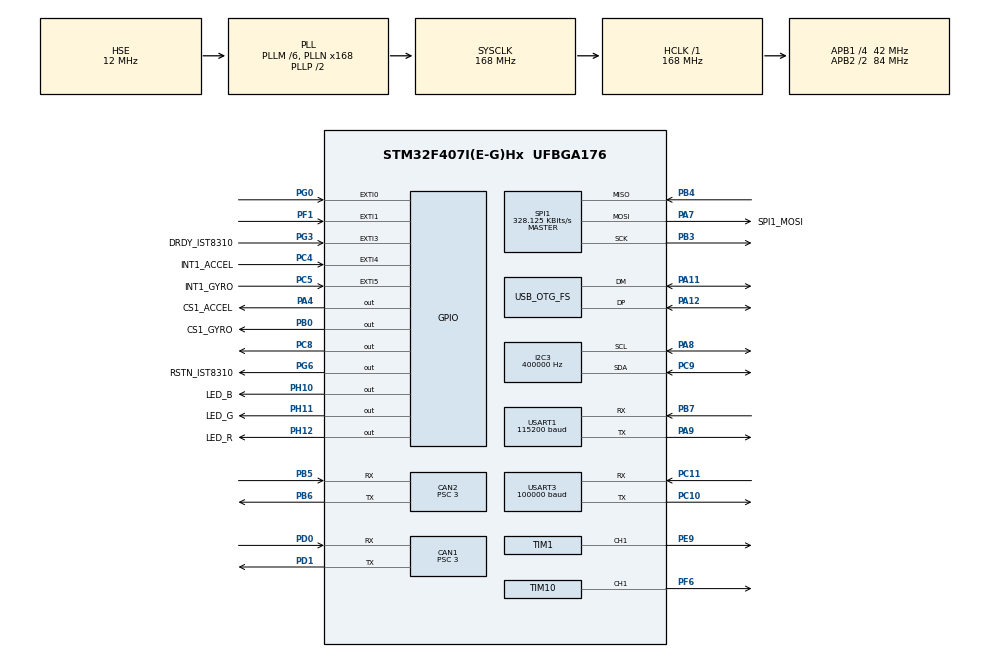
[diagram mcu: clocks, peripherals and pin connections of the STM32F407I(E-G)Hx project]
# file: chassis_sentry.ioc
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CAN1.ABOM=DISABLE
CAN1.AWUM=DISABLE
CAN1.BS1=CAN_BS1_10TQ
CAN1.BS2=CAN_BS2_3TQ
CAN1.CalculateBaudRate=1000000
CAN1.CalculateTimeQuantum=71.42857142857143
CAN1.Mode=CAN_MODE_NORMAL
CAN1.NART=DISABLE
CAN1.Prescaler=3
CAN1.RFLM=DISABLE
CAN1.SJW=CAN_SJW_1TQ
CAN1.TTCM=DISABLE
CAN1.TXFP=DISABLE
CAN2.ABOM=DISABLE
CAN2.AWUM=DISABLE
CAN2.BS1=CAN_BS1_10TQ
CAN2.BS2=CAN_BS2_3TQ
CAN2.CalculateBaudRate=1000000
CAN2.CalculateTimeQuantum=71.42857142857143
CAN2.Mode=CAN_MODE_NORMAL
CAN2.NART=DISABLE
CAN2.Prescaler=3
CAN2.RFLM=DISABLE
CAN2.SJW=CAN_SJW_1TQ
CAN2.TTCM=DISABLE
CAN2.TXFP=DISABLE
Dma.Request0=SPI1_RX
Dma.Request1=SPI1_TX
Dma.Request2=USART1_RX
Dma.Request3=USART1_TX
Dma.Request4=USART3_RX
Dma.SPI1_RX.0.Direction=DMA_PERIPH_TO_MEMORY
Dma.SPI1_RX.0.FIFOMode=DMA_FIFOMODE_DISABLE
Dma.SPI1_RX.0.Instance=DMA2_Stream2
Dma.SPI1_RX.0.MemDataAlignment=DMA_MDATAALIGN_BYTE
Dma.SPI1_RX.0.MemInc=DMA_MINC_ENABLE
Dma.SPI1_RX.0.Mode=DMA_NORMAL
Dma.SPI1_RX.0.PeriphDataAlignment=DMA_PDATAALIGN_BYTE
Dma.SPI1_RX.0.PeriphInc=DMA_PINC_DISABLE
Dma.SPI1_RX.0.Priority=DMA_PRIORITY_VERY_HIGH
Dma.SPI1_TX.1.Direction=DMA_MEMORY_TO_PERIPH
Dma.SPI1_TX.1.FIFOMode=DMA_FIFOMODE_DISABLE
Dma.SPI1_TX.1.Instance=DMA2_Stream3
Dma.SPI1_TX.1.MemDataAlignment=DMA_MDATAALIGN_BYTE
Dma.SPI1_TX.1.MemInc=DMA_MINC_ENABLE
Dma.SPI1_TX.1.Mode=DMA_NORMAL
Dma.SPI1_TX.1.PeriphDataAlignment=DMA_PDATAALIGN_BYTE
Dma.SPI1_TX.1.PeriphInc=DMA_PINC_DISABLE
Dma.SPI1_TX.1.Priority=DMA_PRIORITY_HIGH
Dma.USART1_RX.2.Direction=DMA_PERIPH_TO_MEMORY
Dma.USART1_RX.2.FIFOMode=DMA_FIFOMODE_DISABLE
Dma.USART1_RX.2.Instance=DMA2_Stream5
Dma.USART1_RX.2.MemDataAlignment=DMA_MDATAALIGN_BYTE
Dma.USART1_RX.2.MemInc=DMA_MINC_ENABLE
Dma.USART1_RX.2.Mode=DMA_NORMAL
Dma.USART1_RX.2.PeriphDataAlignment=DMA_PDATAALIGN_BYTE
Dma.USART1_RX.2.PeriphInc=DMA_PINC_DISABLE
Dma.USART1_RX.2.Priority=DMA_PRIORITY_LOW
Dma.USART1_TX.3.Direction=DMA_MEMORY_TO_PERIPH
Dma.USART1_TX.3.FIFOMode=DMA_FIFOMODE_DISABLE
Dma.USART1_TX.3.Instance=DMA2_Stream7
Dma.USART1_TX.3.MemDataAlignment=DMA_MDATAALIGN_BYTE
Dma.USART1_TX.3.MemInc=DMA_MINC_ENABLE
Dma.USART1_TX.3.Mode=DMA_CIRCULAR
Dma.USART1_TX.3.PeriphDataAlignment=DMA_PDATAALIGN_BYTE
Dma.USART1_TX.3.PeriphInc=DMA_PINC_DISABLE
Dma.USART1_TX.3.Priority=DMA_PRIORITY_LOW
Dma.USART3_RX.4.Direction=DMA_PERIPH_TO_MEMORY
Dma.USART3_RX.4.FIFOMode=DMA_FIFOMODE_DISABLE
Dma.USART3_RX.4.Instance=DMA1_Stream1
Dma.USART3_RX.4.MemDataAlignment=DMA_MDATAALIGN_BYTE
Dma.USART3_RX.4.MemInc=DMA_MINC_ENABLE
Dma.USART3_RX.4.Mode=DMA_CIRCULAR
Dma.USART3_RX.4.PeriphDataAlignment=DMA_PDATAALIGN_BYTE
Dma.USART3_RX.4.PeriphInc=DMA_PINC_DISABLE
Dma.USART3_RX.4.Priority=DMA_PRIORITY_LOW
FREERTOS.HEAP_NUMBER=4
FREERTOS.INCLUDE_eTaskGetState=0
FREERTOS.INCLUDE_pcTaskGetTaskName=0
FREERTOS.INCLUDE_uxTaskGetStackHighWaterMark=0
FREERTOS.INCLUDE_uxTaskGetStackHighWaterMark2=0
FREERTOS.INCLUDE_uxTaskPriorityGet=1
FREERTOS.INCLUDE_vTaskCleanUpResources=0
FREERTOS.INCLUDE_vTaskDelay=1
FREERTOS.INCLUDE_vTaskDelayUntil=1
FREERTOS.INCLUDE_vTaskDelete=1
FREERTOS.INCLUDE_vTaskPrioritySet=1
FREERTOS.INCLUDE_vTaskSuspend=1
FREERTOS.INCLUDE_xEventGroupSetBitFromISR=0
FREERTOS.INCLUDE_xQueueGetMutexHolder=0
FREERTOS.INCLUDE_xSemaphoreGetMutexHolder=0
FREERTOS.INCLUDE_xTaskAbortDelay=0
FREERTOS.INCLUDE_xTaskGetCurrentTaskHandle=0
FREERTOS.INCLUDE_xTaskGetHandle=1
FREERTOS.INCLUDE_xTaskResumeFromISR=1
FREERTOS.MEMORY_ALLOCATION=2
FREERTOS.Tasks01=chassis_task,0,128,StartChassisTask,As weak,NULL,Dynamic,NULL,NULL;IMU_TASK,-3,512,INS_task,As weak,NULL,Dynamic,NULL,NULL;judge,-3,128,send_judge,As weak,NULL,Dynamic,NULL,NULL
FREERTOS.configCHECK_FOR_STACK_OVERFLOW=0
FREERTOS.configENABLE_BACKWARD_COMPATIBILITY=1
FREERTOS.configENABLE_FPU=0
FREERTOS.configGENERATE_RUN_TIME_STATS=0
FREERTOS.configIDLE_SHOULD_YIELD=1
FREERTOS.configLIBRARY_LOWEST_INTERRUPT_PRIORITY=15
FREERTOS.configLIBRARY_MAX_SYSCALL_INTERRUPT_PRIORITY=5
FREERTOS.configMAX_CO_ROUTINE_PRIORITIES=2
FREERTOS.configMAX_PRIORITIES=7
FREERTOS.configMAX_TASK_NAME_LEN=16
FREERTOS.configMINIMAL_STACK_SIZE=128
FREERTOS.configQUEUE_REGISTRY_SIZE=8
FREERTOS.configRECORD_STACK_HIGH_ADDRESS=0
FREERTOS.configTICK_RATE_HZ=1000
FREERTOS.configTOTAL_HEAP_SIZE=15360
FREERTOS.configUSE_APPLICATION_TASK_TAG=0
FREERTOS.configUSE_COUNTING_SEMAPHORES=0
FREERTOS.configUSE_CO_ROUTINES=0
FREERTOS.configUSE_DAEMON_TASK_STARTUP_HOOK=0
FREERTOS.configUSE_IDLE_HOOK=0
FREERTOS.configUSE_MALLOC_FAILED_HOOK=0
FREERTOS.configUSE_MUTEXES=1
FREERTOS.configUSE_NEWLIB_REENTRANT=0
FREERTOS.configUSE_POSIX_ERRNO=0
FREERTOS.configUSE_PREEMPTION=1
FREERTOS.configUSE_RECURSIVE_MUTEXES=0
FREERTOS.configUSE_STATS_FORMATTING_FUNCTIONS=0
FREERTOS.configUSE_TASK_NOTIFICATIONS=1
FREERTOS.configUSE_TICKLESS_IDLE=0
FREERTOS.configUSE_TICK_HOOK=0
FREERTOS.configUSE_TIMERS=0
FREERTOS.configUSE_TRACE_FACILITY=0
FREERTOS.copyHeapFile=1
I2C3.AddressingMode=I2C_ADDRESSINGMODE_7BIT
I2C3.ClockSpeed=400000
I2C3.DualAddressMode=I2C_DUALADDRESS_DISABLE
I2C3.DutyCycle=I2C_DUTYCYCLE_2
I2C3.GeneralCallMode=I2C_GENERALCALL_DISABLE
I2C3.I2C_Mode=I2C_Fast
I2C3.NoStretchMode=I2C_NOSTRETCH_DISABLE
I2C3.OwnAddress=0
Mcu.Family=STM32F4
Mcu.Name=STM32F407I(E-G)Hx
Mcu.Package=UFBGA176
NVIC.CAN1_RX0_IRQn=true\:5\:0\:true\:false\:true\:true\:true\:true\:true
NVIC.CAN2_RX0_IRQn=true\:5\:0\:false\:false\:true\:true\:true\:true\:true
NVIC.DMA1_Stream1_IRQn=true\:5\:0\:true\:false\:true\:true\:false\:true\:true
NVIC.DMA2_Stream2_IRQn=true\:5\:0\:true\:false\:true\:true\:false\:true\:true
NVIC.DMA2_Stream3_IRQn=true\:5\:0\:false\:false\:true\:true\:false\:true\:true
NVIC.DMA2_Stream5_IRQn=true\:5\:0\:false\:false\:true\:true\:false\:true\:true
NVIC.DMA2_Stream7_IRQn=true\:5\:0\:false\:false\:true\:true\:false\:true\:true
NVIC.EXTI0_IRQn=true\:6\:0\:true\:false\:true\:true\:true\:true\:true
NVIC.EXTI1_IRQn=true\:5\:0\:true\:false\:true\:true\:true\:true\:true
NVIC.EXTI3_IRQn=true\:5\:0\:true\:false\:true\:true\:true\:true\:true
NVIC.EXTI4_IRQn=true\:5\:0\:true\:false\:true\:true\:true\:true\:true
NVIC.EXTI9_5_IRQn=true\:5\:0\:true\:false\:true\:true\:true\:true\:true
NVIC.OTG_FS_IRQn=true\:5\:0\:false\:false\:true\:true\:true\:true\:true
NVIC.PriorityGroup=NVIC_PRIORITYGROUP_4
NVIC.TIM6_DAC_IRQn=true\:15\:0\:false\:false\:true\:false\:true\:true\:true
NVIC.TIM8_UP_TIM13_IRQn=true\:5\:0\:false\:false\:true\:true\:true\:true\:true
NVIC.TimeBase=TIM6_DAC_IRQn
NVIC.TimeBaseIP=TIM6
NVIC.USART1_IRQn=true\:5\:0\:false\:false\:true\:true\:true\:true\:true
PA11.Mode=Device_Only
PA11.Signal=USB_OTG_FS_DM
PA12.Mode=Device_Only
PA12.Signal=USB_OTG_FS_DP
PA13.Mode=Serial_Wire
PA13.Signal=SYS_JTMS-SWDIO
PA14.Mode=Serial_Wire
PA14.Signal=SYS_JTCK-SWCLK
PA4.GPIO_Label=CS1_ACCEL
PA4.PinState=GPIO_PIN_SET
PA4.Signal=GPIO_Output
PA7.GPIO_Label=SPI1_MOSI
PA7.GPIO_PuPd=GPIO_PULLUP
PA7.Mode=Full_Duplex_Master
PA7.Signal=SPI1_MOSI
PA8.Mode=I2C
PA8.Signal=I2C3_SCL
PA9.Mode=Asynchronous
PA9.Signal=USART1_TX
PB0.GPIO_Label=CS1_GYRO
PB0.PinState=GPIO_PIN_SET
PB0.Signal=GPIO_Output
PB3.Mode=Full_Duplex_Master
PB3.Signal=SPI1_SCK
PB4.GPIO_PuPd=GPIO_PULLUP
PB4.Mode=Full_Duplex_Master
PB4.Signal=SPI1_MISO
PB5.Mode=CAN_Activate
PB5.Signal=CAN2_RX
PB6.Mode=CAN_Activate
PB6.Signal=CAN2_TX
PB7.Mode=Asynchronous
PB7.Signal=USART1_RX
PC10.Mode=Asynchronous
PC10.Signal=USART3_TX
PC11.Mode=Asynchronous
PC11.Signal=USART3_RX
PC4.GPIO_Label=INT1_ACCEL
PC4.GPIO_PuPd=GPIO_PULLUP
PC4.Signal=GPXTI4
PC5.GPIO_Label=INT1_GYRO
PC5.GPIO_PuPd=GPIO_PULLUP
PC5.Signal=GPXTI5
PC8.GPIO_PuPd=GPIO_PULLUP
PC8.Signal=GPIO_Output
PC9.Mode=I2C
PC9.Signal=I2C3_SDA
PD0.Mode=CAN_Activate
PD0.Signal=CAN1_RX
PD1.Mode=CAN_Activate
PD1.Signal=CAN1_TX
PE9.Signal=S_TIM1_CH1
PF1.Signal=GPXTI1
PF6.Signal=S_TIM10_CH1
PG0.Signal=GPXTI0
PG3.GPIO_Label=DRDY_IST8310
PG3.GPIO_PuPd=GPIO_PULLUP
PG3.Signal=GPXTI3
PG6.GPIO_Label=RSTN_IST8310
PG6.GPIO_PuPd=GPIO_PULLUP
PG6.GPIO_Speed=GPIO_SPEED_FREQ_MEDIUM
PG6.PinState=GPIO_PIN_SET
PG6.Signal=GPIO_Output
PH0-OSC_IN.Mode=HSE-External-Oscillator
PH0-OSC_IN.Signal=RCC_OSC_IN
PH1-OSC_OUT.Mode=HSE-External-Oscillator
PH1-OSC_OUT.Signal=RCC_OSC_OUT
PH10.GPIO_Label=LED_B
PH10.Signal=GPIO_Output
PH11.GPIO_Label=LED_G
PH11.Signal=GPIO_Output
PH12.GPIO_Label=LED_R
PH12.Signal=GPIO_Output
ProjectManager.HeapSize=0x200
ProjectManager.StackSize=0x400
ProjectManager.TargetToolchain=MDK-ARM V5.32
RCC.48MHZClocksFreq_Value=48000000
RCC.AHBFreq_Value=168000000
RCC.APB1CLKDivider=RCC_HCLK_DIV4
RCC.APB1Freq_Value=42000000
RCC.APB1TimFreq_Value=84000000
RCC.APB2CLKDivider=RCC_HCLK_DIV2
RCC.APB2Freq_Value=84000000
RCC.APB2TimFreq_Value=168000000
RCC.CortexFreq_Value=168000000
RCC.FLatency=FLASH_LATENCY_5
RCC.HCLKFreq_Value=168000000
RCC.HSE_VALUE=12000000
RCC.HSI_VALUE=16000000
RCC.LSE_VALUE=32768
RCC.PLLM=6
RCC.PLLN=168
RCC.PLLQ=7
RCC.SYSCLKFreq_VALUE=168000000
RCC.SYSCLKSource=RCC_SYSCLKSOURCE_PLLCLK
RCC.VCOOutputFreq_Value=336000000
SH.S_TIM10_CH1.0=TIM10_CH1,PWM Generation1 CH1
SH.S_TIM1_CH1.0=TIM1_CH1,PWM Generation1 CH1
SPI1.BaudRatePrescaler=SPI_BAUDRATEPRESCALER_256
SPI1.CLKPhase=SPI_PHASE_2EDGE
SPI1.CLKPolarity=SPI_POLARITY_HIGH
SPI1.CRCCalculation=SPI_CRCCALCULATION_DISABLE
SPI1.CalculateBaudRate=328.125 KBits/s
SPI1.DataSize=SPI_DATASIZE_8BIT
SPI1.Direction=SPI_DIRECTION_2LINES
SPI1.FirstBit=SPI_FIRSTBIT_MSB
SPI1.Mode=SPI_MODE_MASTER
SPI1.NSS=SPI_NSS_SOFT
SPI1.TIMode=SPI_TIMODE_DISABLE
SPI1.VirtualType=VM_MASTER
TIM1.AutoReloadPreload=TIM_AUTORELOAD_PRELOAD_DISABLE
TIM1.AutomaticOutput=TIM_AUTOMATICOUTPUT_DISABLE
TIM1.BreakPolarity=TIM_BREAKPOLARITY_HIGH
TIM1.BreakState=TIM_BREAK_DISABLE
TIM1.Channel-PWM\ Generation1\ CH1=TIM_CHANNEL_1
TIM1.ClockDivision=TIM_CLOCKDIVISION_DIV1
TIM1.CounterMode=TIM_COUNTERMODE_UP
TIM1.LockLevel=TIM_LOCKLEVEL_OFF
TIM1.OC1Preload_PWM=ENABLE
TIM1.OCFastMode_PWM-PWM\ Generation1\ CH1=TIM_OCFAST_DISABLE
TIM1.OCIdleState_1=TIM_OCIDLESTATE_RESET
TIM1.OCMode_PWM-PWM\ Generation1\ CH1=TIM_OCMODE_PWM1
TIM1.OCPolarity_1=TIM_OCPOLARITY_HIGH
TIM1.OffStateIDLEMode=TIM_OSSI_DISABLE
TIM1.OffStateRunMode=TIM_OSSR_DISABLE
TIM1.Period=1999
TIM1.Prescaler=1679
TIM1.Pulse-PWM\ Generation1\ CH1=0
TIM1.RepetitionCounter=0
TIM1.TIM_MasterOutputTrigger=TIM_TRGO_RESET
TIM1.TIM_MasterSlaveMode=TIM_MASTERSLAVEMODE_DISABLE
TIM10.AutoReloadPreload=TIM_AUTORELOAD_PRELOAD_DISABLE
TIM10.Channel=TIM_CHANNEL_1
TIM10.ClockDivision=TIM_CLOCKDIVISION_DIV1
TIM10.CounterMode=TIM_COUNTERMODE_UP
TIM10.OC1Preload_PWM=ENABLE
TIM10.OCFastMode_PWM=TIM_OCFAST_DISABLE
TIM10.OCMode_PWM=TIM_OCMODE_PWM1
TIM10.OCPolarity_1=TIM_OCPOLARITY_HIGH
TIM10.Period=4999
TIM10.Prescaler=0
TIM10.Pulse=0
TIM13.AutoReloadPreload=TIM_AUTORELOAD_PRELOAD_DISABLE
TIM13.ClockDivision=TIM_CLOCKDIVISION_DIV1
TIM13.CounterMode=TIM_COUNTERMODE_UP
TIM13.Period=10000-1
TIM13.Prescaler=8400-1
USART1.BaudRate=115200
USART1.Mode=MODE_TX_RX
USART1.OverSampling=UART_OVERSAMPLING_16
USART1.Parity=PARITY_NONE
USART1.StopBits=STOPBITS_1
USART1.VirtualMode=VM_ASYNC
USART1.WordLength=WORDLENGTH_8B
USART3.BaudRate=100000
USART3.Mode=MODE_TX_RX
USART3.OverSampling=UART_OVERSAMPLING_16
USART3.Parity=PARITY_EVEN
USART3.StopBits=STOPBITS_1
USART3.VirtualMode=VM_ASYNC
USART3.WordLength=WORDLENGTH_9B
USB_DEVICE.APP_RX_DATA_SIZE-CDC_FS=2048
USB_DEVICE.APP_TX_DATA_SIZE-CDC_FS=2048
USB_DEVICE.CLASS_NAME_FS=CDC
USB_DEVICE.CONFIGURATION_STRING_CDC_FS=CDC Config
USB_DEVICE.INTERFACE_STRING_CDC_FS=CDC Interface
USB_DEVICE.LANGID_STRING-CDC_FS=1033
USB_DEVICE.MANUFACTURER_STRING-CDC_FS=STMicroelectronics
USB_DEVICE.PID_CDC_FS=22336
USB_DEVICE.PRODUCT_STRING_CDC_FS=STM32 Virtual ComPort
USB_DEVICE.USBD_DEBUG_LEVEL-CDC_FS=0
USB_DEVICE.USBD_MAX_NUM_CONFIGURATION-CDC_FS=1
USB_DEVICE.USBD_MAX_NUM_INTERFACES-CDC_FS=1
USB_DEVICE.USBD_MAX_STR_DESC_SIZ-CDC_FS=512
USB_DEVICE.USBD_SELF_POWERED-CDC_FS=1
USB_DEVICE.VID-CDC_FS=1155
USB_DEVICE.VirtualMode-CDC_FS=Cdc
USB_DEVICE.VirtualModeFS=Cdc_FS
USB_OTG_FS.Sof_enable=DISABLE
USB_OTG_FS.VirtualMode=Device_Only
USB_OTG_FS.low_power_enable=DISABLE
USB_OTG_FS.lpm_enable=DISABLE
USB_OTG_FS.vbus_sensing_enable=DISABLE
VP_CRC_VS_CRC.Mode=CRC_Activate
VP_FREERTOS_VS_CMSIS_V1.Mode=CMSIS_V1
VP_SYS_VS_tim6.Mode=TIM6
VP_TIM10_VS_ClockSourceINT.Mode=Enable_Timer
VP_TIM13_VS_ClockSourceINT.Mode=Enable_Timer
VP_USB_DEVICE_VS_USB_DEVICE_CDC_FS.Mode=CDC_FS
board=custom

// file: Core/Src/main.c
/* USER CODE BEGIN Header */
/**
  ******************************************************************************
  * @file           : main.c
  * @brief          : Main program body
  ******************************************************************************
  * @attention
  *
  * Copyright (c) 2024 STMicroelectronics.
  * All rights reserved.
  *
  * This software is licensed under terms that can be found in the LICENSE file
  * in the root directory of this software component.
  * If no LICENSE file comes with this software, it is provided AS-IS.
  *
  ******************************************************************************
  */
/* USER CODE END Header */
#include "main.h"
#include "cmsis_os.h"
#include "can.h"
#include "crc.h"
#include "dma.h"
#include "i2c.h"
#include "spi.h"
#include "tim.h"
#include "usart.h"
#include "usb_device.h"
#include "gpio.h"

/* USER CODE BEGIN Includes */
#include "motor_define.h"
#include "baspcan.h"
#include "LK_9025.h"
#include "../Core/Inc/crc.h"
#include "judge.h"
/* USER CODE END Includes */

void SystemClock_Config(void);
void MX_FREERTOS_Init(void);

/* USER CODE BEGIN 0 */
extern uint8_t pdata[18];      //遥控器信号解算

motor_3508_t motor_3508[4];
motor_6020_t motor_yaw,motor_pitch;
motor_9025 motor_9025_yaw;

float Auto_speed_x,Auto_speed_y;

float zimiao_yaw=0;

/* USER CODE END 0 */

int main(void)
{

  /* MCU Configuration--------------------------------------------------------*/

  /* Reset of all peripherals, Initializes the Flash interface and the Systick. */
  HAL_Init();

  /* Configure the system clock */
  SystemClock_Config();

  /* Initialize all configured peripherals */
  MX_GPIO_Init();
  MX_DMA_Init();
  MX_CAN1_Init();
  MX_USART3_UART_Init();
  MX_SPI1_Init();
  MX_TIM10_Init();
  MX_I2C3_Init();
  MX_CAN2_Init();
  MX_USART1_UART_Init();
  MX_TIM1_Init();
  MX_CRC_Init();
  MX_TIM13_Init();
  /* USER CODE BEGIN 2 */
  can_filter_init();
  HAL_UART_Receive_DMA(&huart3,pdata,sizeof(pdata));
  Motor_LK9025_Enable(&hcan2,0x141);
   Judge_Communication_Init(&huart1);
  Chassis_PID_Init_All();
  /* USER CODE END 2 */

  /* Call init function for freertos objects (in cmsis_os2.c) */
  MX_FREERTOS_Init();

  /* Start scheduler */
  osKernelStart();

  /* We should never get here as control is now taken by the scheduler */

  /* Infinite loop */
  while (1)
  {

  }
}

void SystemClock_Config(void)
{
  RCC_OscInitTypeDef RCC_OscInitStruct = {0};
  RCC_ClkInitTypeDef RCC_ClkInitStruct = {0};

  /** Configure the main internal regulator output voltage
  */
  __HAL_RCC_PWR_CLK_ENABLE();
  __HAL_PWR_VOLTAGESCALING_CONFIG(PWR_REGULATOR_VOLTAGE_SCALE1);

  /** Initializes the RCC Oscillators according to the specified parameters
  * in the RCC_OscInitTypeDef structure.
  */
  RCC_OscInitStruct.OscillatorType = RCC_OSCILLATORTYPE_HSE;
  RCC_OscInitStruct.HSEState = RCC_HSE_ON;
  RCC_OscInitStruct.PLL.PLLState = RCC_PLL_ON;
  RCC_OscInitStruct.PLL.PLLSource = RCC_PLLSOURCE_HSE;
  RCC_OscInitStruct.PLL.PLLM = 6;
  RCC_OscInitStruct.PLL.PLLN = 168;
  RCC_OscInitStruct.PLL.PLLP = RCC_PLLP_DIV2;
  RCC_OscInitStruct.PLL.PLLQ = 7;
  if (HAL_RCC_OscConfig(&RCC_OscInitStruct) != HAL_OK)
  {
    Error_Handler();
  }

  /** Initializes the CPU, AHB and APB buses clocks
  */
  RCC_ClkInitStruct.ClockType = RCC_CLOCKTYPE_HCLK|RCC_CLOCKTYPE_SYSCLK
                              |RCC_CLOCKTYPE_PCLK1|RCC_CLOCKTYPE_PCLK2;
  RCC_ClkInitStruct.SYSCLKSource = RCC_SYSCLKSOURCE_PLLCLK;
  RCC_ClkInitStruct.AHBCLKDivider = RCC_SYSCLK_DIV1;
  RCC_ClkInitStruct.APB1CLKDivider = RCC_HCLK_DIV4;
  RCC_ClkInitStruct.APB2CLKDivider = RCC_HCLK_DIV2;

  if (HAL_RCC_ClockConfig(&RCC_ClkInitStruct, FLASH_LATENCY_5) != HAL_OK)
  {
    Error_Handler();
  }
}

void HAL_TIM_PeriodElapsedCallback(TIM_HandleTypeDef *htim)
{
  if (htim->Instance == TIM6) {
    HAL_IncTick();
  }
}

void Error_Handler(void)
{
  __disable_irq();
  while (1)
  {
  }
}

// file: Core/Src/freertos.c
/* USER CODE BEGIN Header */
/**
  ******************************************************************************
  * File Name          : freertos.c
  * Description        : Code for freertos applications
  ******************************************************************************
  * @attention
  *
  * Copyright (c) 2024 STMicroelectronics.
  * All rights reserved.
  *
  * This software is licensed under terms that can be found in the LICENSE file
  * in the root directory of this software component.
  * If no LICENSE file comes with this software, it is provided AS-IS.
  *
  ******************************************************************************
  */
/* USER CODE END Header */

#include "FreeRTOS.h"
#include "task.h"
#include "main.h"
#include "cmsis_os.h"

osThreadId chassis_taskHandle;
osThreadId IMU_TASKHandle;
osThreadId judgeHandle;

void StartChassisTask(void const * argument);
void INS_task(void const * argument);
void send_judge(void const * argument);

extern void MX_USB_DEVICE_Init(void);
void MX_FREERTOS_Init(void); /* (MISRA C 2004 rule 8.1) */

/* GetIdleTaskMemory prototype (linked to static allocation support) */
void vApplicationGetIdleTaskMemory( StaticTask_t **ppxIdleTaskTCBBuffer, StackType_t **ppxIdleTaskStackBuffer, uint32_t *pulIdleTaskStackSize );

/* USER CODE BEGIN GET_IDLE_TASK_MEMORY */
static StaticTask_t xIdleTaskTCBBuffer;
static StackType_t xIdleStack[configMINIMAL_STACK_SIZE];

void vApplicationGetIdleTaskMemory( StaticTask_t **ppxIdleTaskTCBBuffer, StackType_t **ppxIdleTaskStackBuffer, uint32_t *pulIdleTaskStackSize )
{
  *ppxIdleTaskTCBBuffer = &xIdleTaskTCBBuffer;
  *ppxIdleTaskStackBuffer = &xIdleStack[0];
  *pulIdleTaskStackSize = configMINIMAL_STACK_SIZE;
  /* place for user code */
}
/* USER CODE END GET_IDLE_TASK_MEMORY */

void MX_FREERTOS_Init(void) {

  /* Create the thread(s) */
  /* definition and creation of chassis_task */
  osThreadDef(chassis_task, StartChassisTask, osPriorityNormal, 0, 128);
  chassis_taskHandle = osThreadCreate(osThread(chassis_task), NULL);

  /* definition and creation of IMU_TASK */
  osThreadDef(IMU_TASK, INS_task, osPriorityIdle, 0, 512);
  IMU_TASKHandle = osThreadCreate(osThread(IMU_TASK), NULL);

  /* definition and creation of judge */
  osThreadDef(judge, send_judge, osPriorityIdle, 0, 128);
  judgeHandle = osThreadCreate(osThread(judge), NULL);

}

__weak void StartChassisTask(void const * argument)
{
  /* init code for USB_DEVICE */
  MX_USB_DEVICE_Init();
  for(;;)
  {
    osDelay(1);
  }
}

__weak void INS_task(void const * argument)
{
  for(;;)
  {
    osDelay(1);
  }
}

__weak void send_judge(void const * argument)
{
  for(;;)
  {
    osDelay(1);
  }
}
